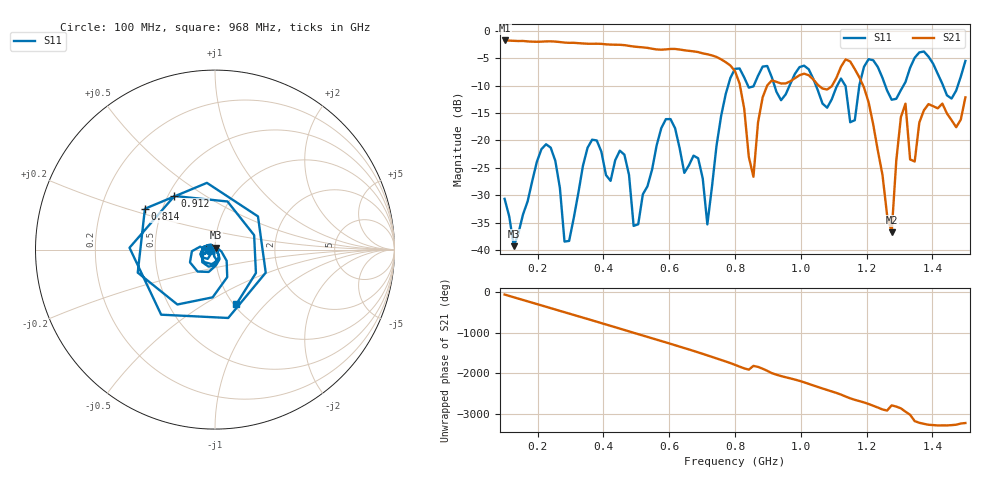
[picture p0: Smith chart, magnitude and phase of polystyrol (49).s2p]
! NanoVNA-App
! Date: 2025-09-26 09:42:16
! Start: 100MHz Stop: 1,5GHz Points: 101
! S-Parameter data: F S11 S21 S12 S22
# Hz S RI R 50
!  Frequency  S11_Real  S11_Imag  S21_Real  S21_Imag  S12_Real  S12_Imag  S22_Real  S22_Imag
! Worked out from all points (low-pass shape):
!   101 points, 100 MHz to 1.5 GHz, reference 50 ohm
!   highest |S21| = -1.79 dB at 100 MHz (marker M1); lowest = -36.7 dB at 1.276 GHz (marker M2)
!   |S21| within 3 dB of the highest: start of sweep to 743.3 MHz
!   lowest |S11| = -39.3 dB at 128 MHz (marker M3), VSWR 1.02, Z = 50.3 + j1.05 ohm
!   |S11| at or under -10 dB: start of sweep to 779.3 MHz; 1.046 GHz to 1.111 GHz (64.77 MHz wide, 6.01 % of centre); 1.257 GHz to 1.312 GHz (55.38 MHz wide, 4.31 % of centre) (the widest 3 of 7)
!   S12 and S22 are empty: the file has one direction only
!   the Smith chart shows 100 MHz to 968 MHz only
!   S11 on the Smith chart (normalised r, x): 100 MHz: 0.94, -0.01; 814 MHz: 0.40, +0.23; 912 MHz: 0.54, +0.38; 968 MHz: 1.03, -0.70
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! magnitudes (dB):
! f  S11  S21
! 100 MHz  -30.7  -1.8
! 128 MHz  -39.3  -1.9
! 212 MHz  -21.6  -2.0
! 254 MHz  -23.7  -2.0
! 282 MHz  -38.4  -2.2
! 338 MHz  -24.6  -2.3
! 464 MHz  -22.6  -2.6
! 506 MHz  -35.3  -3.0
! 576 MHz  -17.8  -3.5
! 688 MHz  -23.3  -3.9
! 716 MHz  -35.3  -4.3
! 800 MHz  -7.0  -7.4
! 814 MHz  -6.9  -9.7
! 856 MHz  -10.2  -26.6
! 912 MHz  -8.5  -9.1
! 968 MHz  -9.7  -9.2
! 1.038 GHz  -8.8  -8.9
! 1.178 GHz  -9.9  -8.5
! 1.276 GHz  -12.6  -36.7
! 1.318 GHz  -9.4  -13.3
! 1.346 GHz  -4.9  -23.8
! 1.5 GHz  -5.5  -12.2
